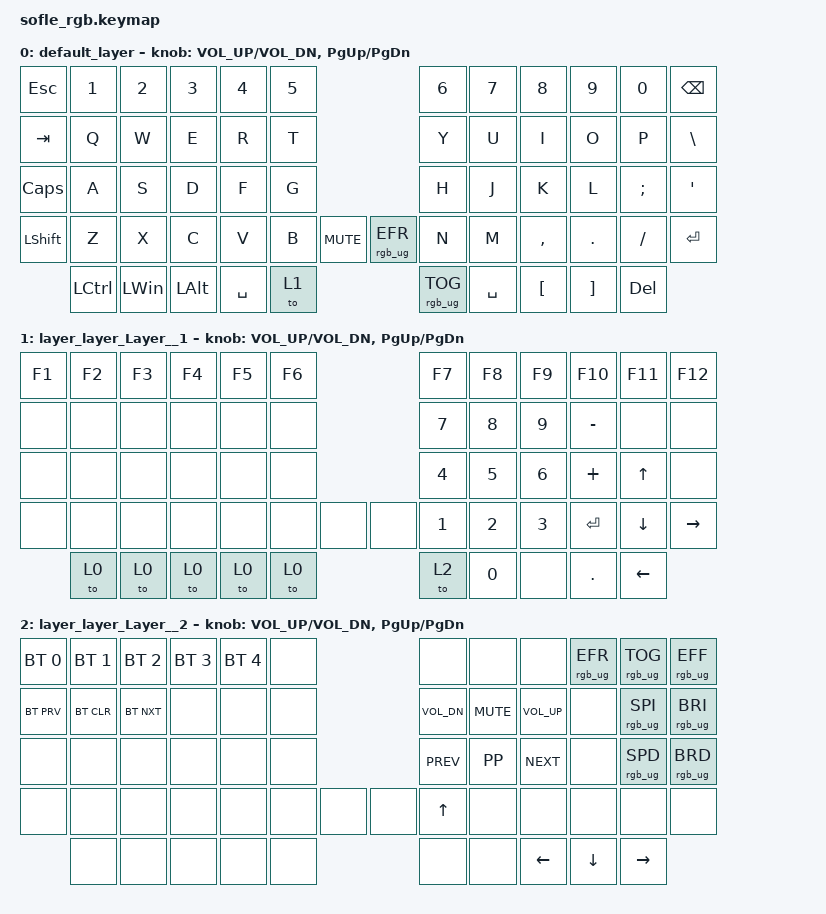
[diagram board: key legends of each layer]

/*
 * Copyright (c) 2020 The ZMK Contributors
 *
 * SPDX-License-Identifier: MIT
 */


/* THIS FILE WAS GENERATED!
 *
 * This file was generated automatically. You may or may not want to
 * edit it directly.
 */

#include <behaviors.dtsi>
#include <dt-bindings/zmk/keys.h>
#include <dt-bindings/zmk/rgb.h>
#include <dt-bindings/zmk/bt.h>

/ {
    keymap {
        compatible = "zmk,keymap";


        default_layer {
            bindings = <
&kp ESC     &kp N1    &kp N2        &kp N3     &kp N4  &kp N5                     &kp N6           &kp N7     &kp N8      &kp N9     &kp N0   &kp BACKSPACE
&kp TAB     &kp Q     &kp W         &kp E      &kp R   &kp T                      &kp Y            &kp U      &kp I       &kp O      &kp P   &kp BACKSLASH
&kp CAPS    &kp A     &kp S         &kp D      &kp F   &kp G                      &kp H            &kp J      &kp K       &kp L   &kp SEMI  &kp APOSTROPHE
&kp LSHIFT  &kp Z     &kp X         &kp C      &kp V   &kp B  &kp C_MUTE  &rgb_ug RGB_EFR   &kp N  &kp M  &kp COMMA  &kp PERIOD  &kp SLASH       &kp ENTER
                &kp LCTRL  &kp LWIN  &kp LEFT_ALT  &kp SPACE  &to 1      &rgb_ug RGB_TOG  &kp SPACE    &kp LBKT   &kp RBKT   &kp DEL

            >;
            sensor-bindings = <&inc_dec_kp C_VOL_UP C_VOL_DN &inc_dec_kp PG_UP PG_DN>;

        };

        layer_layer_Layer__1 {
            bindings = <
&kp F1  &kp F2  &kp F3  &kp F4  &kp F5  &kp F6                  &kp F7        &kp F8        &kp F9    &kp F10     &kp F11  &kp F12
&none   &none   &none   &none   &none   &none          &kp NUMBER_7  &kp NUMBER_8  &kp NUMBER_9  &kp MINUS         &none    &none
&none   &none   &none   &none   &none   &none          &kp NUMBER_4  &kp NUMBER_5  &kp NUMBER_6   &kp PLUS         &kp UP    &none
&none   &none   &none   &none   &none   &none &none  &none  &kp NUMBER_1  &kp NUMBER_2  &kp NUMBER_3  &kp ENTER         &kp DOWN    &kp RIGHT
     &to 0   &to 0   &to 0   &to 0 &to 0            &to 2  &kp NUMBER_0    &none &kp PERIOD      &kp LEFT
            >;
            sensor-bindings = <&inc_dec_kp C_VOL_UP C_VOL_DN &inc_dec_kp PG_UP PG_DN>;

        };

        layer_layer_Layer__2 {
            bindings = <
 &bt BT_SEL 0  &bt BT_SEL 1  &bt BT_SEL 2  &bt BT_SEL 3  &bt BT_SEL 4  &none                  &none      &none        &none  &rgb_ug RGB_EFR  &rgb_ug RGB_TOG  &rgb_ug RGB_EFF
   &bt BT_PRV    &bt BT_CLR    &bt BT_NXT        &none        &none  &none            &kp K_VOL_DN  &kp K_MUTE  &kp K_VOL_UP           &none  &rgb_ug RGB_SPI  &rgb_ug RGB_BRI
       &none        &none        &none        &none        &none  &none              &kp K_PREV    &kp K_PP    &kp K_NEXT           &none  &rgb_ug RGB_SPD  &rgb_ug RGB_BRD
       &none        &none        &none        &none        &none  &none                  &none      &none  &kp UP_ARROW           &none           &none           &none
       &none        &none        &none        &none        &none  &none                  &none      &none        &none   &kp LEFT_ARROW   &kp DOWN_ARROW  &kp RIGHT_ARROW
            >;
            sensor-bindings = <&inc_dec_kp C_VOL_UP C_VOL_DN &inc_dec_kp PG_UP PG_DN>;

        };

    };
};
